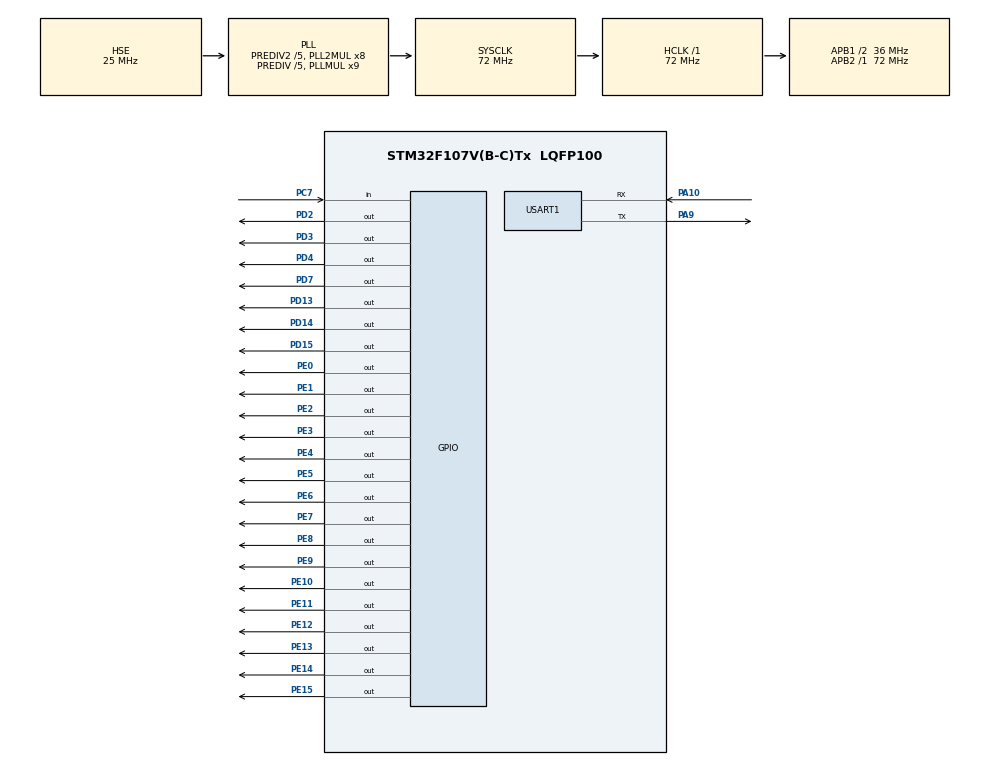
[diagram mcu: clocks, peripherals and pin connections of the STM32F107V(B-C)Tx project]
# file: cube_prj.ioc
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Dma.Request0=USART1_RX
Dma.Request1=USART1_TX
Dma.USART1_RX.0.Direction=DMA_PERIPH_TO_MEMORY
Dma.USART1_RX.0.Instance=DMA1_Channel5
Dma.USART1_RX.0.MemDataAlignment=DMA_MDATAALIGN_BYTE
Dma.USART1_RX.0.MemInc=DMA_MINC_DISABLE
Dma.USART1_RX.0.Mode=DMA_CIRCULAR
Dma.USART1_RX.0.PeriphDataAlignment=DMA_PDATAALIGN_BYTE
Dma.USART1_RX.0.PeriphInc=DMA_PINC_DISABLE
Dma.USART1_RX.0.Priority=DMA_PRIORITY_MEDIUM
Dma.USART1_TX.1.Direction=DMA_MEMORY_TO_PERIPH
Dma.USART1_TX.1.Instance=DMA1_Channel4
Dma.USART1_TX.1.MemDataAlignment=DMA_MDATAALIGN_BYTE
Dma.USART1_TX.1.MemInc=DMA_MINC_ENABLE
Dma.USART1_TX.1.Mode=DMA_NORMAL
Dma.USART1_TX.1.PeriphDataAlignment=DMA_PDATAALIGN_BYTE
Dma.USART1_TX.1.PeriphInc=DMA_PINC_DISABLE
Dma.USART1_TX.1.Priority=DMA_PRIORITY_MEDIUM
Mcu.Family=STM32F1
Mcu.Name=STM32F107V(B-C)Tx
Mcu.Package=LQFP100
NVIC.DMA1_Channel4_IRQn=true\:0\:0\:false\:false\:true
NVIC.DMA1_Channel5_IRQn=true\:0\:0\:false\:false\:true
NVIC.PriorityGroup=NVIC_PRIORITYGROUP_1
NVIC.USART1_IRQn=true\:0\:0\:false\:false\:true
OSC_IN.Mode=HSE-External-Oscillator
OSC_IN.Signal=RCC_OSC_IN
OSC_OUT.Mode=HSE-External-Oscillator
OSC_OUT.Signal=RCC_OSC_OUT
PA10.Mode=Asynchronous
PA10.Signal=USART1_RX
PA13.Mode=Serial_Wire
PA13.Signal=SYS_JTMS-SWDIO
PA14.Mode=Serial_Wire
PA14.Signal=SYS_JTCK-SWCLK
PA9.Mode=Asynchronous
PA9.Signal=USART1_TX
PC14-OSC32_IN.Mode=LSE-External-Oscillator
PC14-OSC32_IN.Signal=RCC_OSC32_IN
PC15-OSC32_OUT.Mode=LSE-External-Oscillator
PC15-OSC32_OUT.Signal=RCC_OSC32_OUT
PC7.Signal=GPIO_Input
PD13.Signal=GPIO_Output
PD14.Signal=GPIO_Output
PD15.Signal=GPIO_Output
PD2.Signal=GPIO_Output
PD3.Signal=GPIO_Output
PD4.Signal=GPIO_Output
PD7.Signal=GPIO_Output
PE0.GPIO_Speed=GPIO_SPEED_HIGH
PE0.Signal=GPIO_Output
PE1.GPIO_Speed=GPIO_SPEED_HIGH
PE1.Signal=GPIO_Output
PE10.GPIO_Speed=GPIO_SPEED_HIGH
PE10.Signal=GPIO_Output
PE11.GPIO_Speed=GPIO_SPEED_HIGH
PE11.Signal=GPIO_Output
PE12.GPIO_Speed=GPIO_SPEED_HIGH
PE12.Signal=GPIO_Output
PE13.GPIO_Speed=GPIO_SPEED_HIGH
PE13.Signal=GPIO_Output
PE14.GPIO_Speed=GPIO_SPEED_HIGH
PE14.Signal=GPIO_Output
PE15.GPIO_Speed=GPIO_SPEED_HIGH
PE15.Signal=GPIO_Output
PE2.GPIO_Speed=GPIO_SPEED_HIGH
PE2.Signal=GPIO_Output
PE3.GPIO_Speed=GPIO_SPEED_HIGH
PE3.Signal=GPIO_Output
PE4.GPIO_Speed=GPIO_SPEED_HIGH
PE4.Signal=GPIO_Output
PE5.GPIO_Speed=GPIO_SPEED_HIGH
PE5.Signal=GPIO_Output
PE6.GPIO_Speed=GPIO_SPEED_HIGH
PE6.Signal=GPIO_Output
PE7.GPIO_Speed=GPIO_SPEED_HIGH
PE7.Signal=GPIO_Output
PE8.GPIO_Speed=GPIO_SPEED_HIGH
PE8.Signal=GPIO_Output
PE9.GPIO_Speed=GPIO_SPEED_HIGH
PE9.Signal=GPIO_Output
ProjectManager.HeapSize=0x400
ProjectManager.StackSize=0x200
ProjectManager.TargetToolchain=MDK-ARM V5
RCC.AHBFreq_Value=72000000
RCC.APB1CLKDivider=RCC_HCLK_DIV2
RCC.APB1Freq_Value=36000000
RCC.APB1TimFreq_Value=72000000
RCC.APB2Freq_Value=72000000
RCC.APB2TimFreq_Value=72000000
RCC.HCLKFreq_Value=72000000
RCC.HSEDivPLL=RCC_HSE_PREDIV_DIV5
RCC.HSE_VALUE=25000000
RCC.HSIState=RCC_HSI_ON
RCC.PLLMUL=RCC_PLL_MUL9
RCC.PLLSourceVirtual=RCC_PLLSOURCE_HSE
RCC.Prediv1Source=RCC_PREDIV1_SOURCE_PLL2
RCC.Prediv2=RCC_HSE_PREDIV2_DIV5
RCC.SYSCLKFreq_VALUE=72000000
RCC.SYSCLKSource=RCC_SYSCLKSOURCE_PLLCLK
RCC.USBFreq_Value=48000000
VP_CRC_VS_CRC.Mode=CRC_Activate
board=cube_prj

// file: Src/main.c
/**
  ******************************************************************************
  * File Name          : main.c
  * Description        : Main program body
  ******************************************************************************
  *
  * COPYRIGHT(c) 2016 STMicroelectronics
  *
  * Redistribution and use in source and binary forms, with or without modification,
  * are permitted provided that the following conditions are met:
  *   1. Redistributions of source code must retain the above copyright notice,
  *      this list of conditions and the following disclaimer.
  *   2. Redistributions in binary form must reproduce the above copyright notice,
  *      this list of conditions and the following disclaimer in the documentation
  *      and/or other materials provided with the distribution.
  *   3. Neither the name of STMicroelectronics nor the names of its contributors
  *      may be used to endorse or promote products derived from this software
  *      without specific prior written permission.
  *
  * THIS SOFTWARE IS PROVIDED BY THE COPYRIGHT HOLDERS AND CONTRIBUTORS "AS IS"
  * AND ANY EXPRESS OR IMPLIED WARRANTIES, INCLUDING, BUT NOT LIMITED TO, THE
  * IMPLIED WARRANTIES OF MERCHANTABILITY AND FITNESS FOR A PARTICULAR PURPOSE ARE
  * DISCLAIMED. IN NO EVENT SHALL THE COPYRIGHT HOLDER OR CONTRIBUTORS BE LIABLE
  * FOR ANY DIRECT, INDIRECT, INCIDENTAL, SPECIAL, EXEMPLARY, OR CONSEQUENTIAL
  * DAMAGES (INCLUDING, BUT NOT LIMITED TO, PROCUREMENT OF SUBSTITUTE GOODS OR
  * SERVICES; LOSS OF USE, DATA, OR PROFITS; OR BUSINESS INTERRUPTION) HOWEVER
  * CAUSED AND ON ANY THEORY OF LIABILITY, WHETHER IN CONTRACT, STRICT LIABILITY,
  * OR TORT (INCLUDING NEGLIGENCE OR OTHERWISE) ARISING IN ANY WAY OUT OF THE USE
  * OF THIS SOFTWARE, EVEN IF ADVISED OF THE POSSIBILITY OF SUCH DAMAGE.
  *
  ******************************************************************************
  */
#include "stm32f1xx_hal.h"
#include "crc.h"
#include "dma.h"
#include "usart.h"
#include "gpio.h"

/* USER CODE BEGIN Includes */
#include "delay.h"
#include "led.h"
//#include "key.h"
//#include "app_led.h"
//#include "exti_dup.h"
//#include "tim_dup.h"
#include "uart_dup.h"
#include "lcd_ssd1289.h"
#include "gui.h"            /**< STemwin */

/* USER CODE END Includes */

/* USER CODE BEGIN PV */
/* Private variables ---------------------------------------------------------*/

//#pragma diag_suppress 77,550,1294,1295
#pragma diag_suppress 870   /**< 排除非法字符串警告 */

/* USER CODE END PV */

void SystemClock_Config(void);

/* USER CODE BEGIN PFP */
/* Private function prototypes -----------------------------------------------*/

/* USER CODE END PFP */

/* USER CODE BEGIN 0 */
extern GUI_CONST_STORAGE GUI_FONT GUI_FontYaHei28;
//extern DMA_HandleTypeDef hdma_usart1_tx;
/* USER CODE END 0 */

int main(void)
{

  /* USER CODE BEGIN 1 */
//    uint16_t i = 0;
    uint16_t cmd;

  /* USER CODE END 1 */

  /* MCU Configuration----------------------------------------------------------*/

  /* Reset of all peripherals, Initializes the Flash interface and the Systick. */
  HAL_Init();

  /* Configure the system clock */
  SystemClock_Config();

  /* Initialize all configured peripherals */
  MX_GPIO_Init();
  MX_DMA_Init();
  MX_CRC_Init();
  MX_USART1_UART_Init();

  /* USER CODE BEGIN 2 */

    GUI_Init();
    GUI_UC_SetEncodeUTF8();

    GUI_SetBkColor(GUI_BLACK);
    GUI_SetColor(GUI_GREEN);

    GUI_SetFont(&GUI_Font32B_ASCII);
    GUI_DispStringAt("Display HanZi", 60, 50);

    GUI_SetFont(&GUI_FontYaHei28);
    GUI_DispStringAt("南京工业大学", 80, 100);

	printf("STM32 UART1\n");
    printf("Messy Code");
  /* USER CODE END 2 */

  /* Infinite loop */
  while (1)
  {

    cmd = uart1_get_recv_cmd();
    switch (cmd)
    {
    case 0x10:
        led_on(LED_0);
        uart1_send_data();
    break;
    case 0x11:
        led_off(LED_0);
        uart1_send_data();
    break;
    }
  }
  /* USER CODE END 3 */

}

/** System Clock Configuration
*/
void SystemClock_Config(void)
{

  RCC_OscInitTypeDef RCC_OscInitStruct;
  RCC_ClkInitTypeDef RCC_ClkInitStruct;

  RCC_OscInitStruct.OscillatorType = RCC_OSCILLATORTYPE_HSE;
  RCC_OscInitStruct.HSEState = RCC_HSE_ON;
  RCC_OscInitStruct.HSEPredivValue = RCC_HSE_PREDIV_DIV5;
  RCC_OscInitStruct.Prediv1Source = RCC_PREDIV1_SOURCE_PLL2;
  RCC_OscInitStruct.PLL.PLLState = RCC_PLL_ON;
  RCC_OscInitStruct.PLL.PLLSource = RCC_PLLSOURCE_HSE;
  RCC_OscInitStruct.PLL.PLLMUL = RCC_PLL_MUL9;
  RCC_OscInitStruct.PLL2.PLL2State = RCC_PLL2_ON;
  RCC_OscInitStruct.PLL2.PLL2MUL = RCC_PLL2_MUL8;
  RCC_OscInitStruct.PLL2.HSEPrediv2Value = RCC_HSE_PREDIV2_DIV5;
  HAL_RCC_OscConfig(&RCC_OscInitStruct);

  RCC_ClkInitStruct.ClockType = RCC_CLOCKTYPE_HCLK|RCC_CLOCKTYPE_SYSCLK
                              |RCC_CLOCKTYPE_PCLK1|RCC_CLOCKTYPE_PCLK2;
  RCC_ClkInitStruct.SYSCLKSource = RCC_SYSCLKSOURCE_PLLCLK;
  RCC_ClkInitStruct.AHBCLKDivider = RCC_SYSCLK_DIV1;
  RCC_ClkInitStruct.APB1CLKDivider = RCC_HCLK_DIV2;
  RCC_ClkInitStruct.APB2CLKDivider = RCC_HCLK_DIV1;
  HAL_RCC_ClockConfig(&RCC_ClkInitStruct, FLASH_LATENCY_2);

  HAL_SYSTICK_Config(HAL_RCC_GetHCLKFreq()/1000);

  HAL_SYSTICK_CLKSourceConfig(SYSTICK_CLKSOURCE_HCLK);

  __HAL_RCC_PLLI2S_ENABLE();

  /* SysTick_IRQn interrupt configuration */
  HAL_NVIC_SetPriority(SysTick_IRQn, 0, 0);
}

/************************ (C) COPYRIGHT STMicroelectronics *****END OF FILE****/
